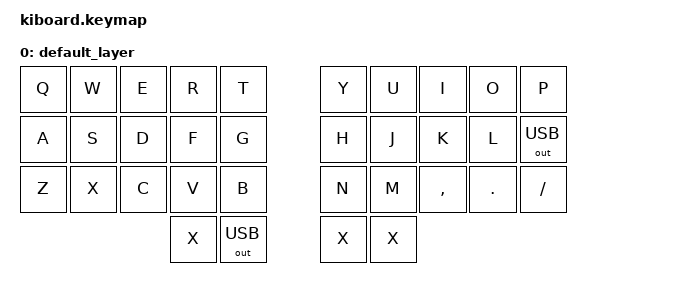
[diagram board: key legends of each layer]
/*
 * Copyright (c) 2020 The ZMK Contributors
 *
 * SPDX-License-Identifier: MIT
 */

#include <behaviors.dtsi>
#include <dt-bindings/zmk/keys.h>
#include <dt-bindings/zmk/outputs.h>

/ {
	keymap {
		compatible = "zmk,keymap";

		default_layer {
// ---------------------------------------------------------------------------------------------------------------------------------
// |  Q  |  W  |  E   |  R   |  T   |                                          |  Y   |   U    |  I    |  O   |   P   |
// |  A  |  S  |  D   |  F   |  G   |                                          |  H   |   J    |  K    |  L   |   ;   |
// |  Z  |  X  |  C   |  V   |  B   |                                          |  N   |   M    |  ,    |  .   |   /   |
//                              |   X   |   X   |                 |   X   |   X   |
			bindings = <
	&kp Q &kp W &kp E &kp R &kp T                                                &kp Y  &kp U  &kp I     &kp O   &kp P   
	&kp A &kp S &kp D &kp F &kp G                                                &kp H  &kp J  &kp K     &kp L   &out OUT_USB
	&kp Z &kp X &kp C &kp V &kp B                                                &kp N  &kp M  &kp COMMA &kp DOT &kp FSLH
	                 &kp X &out OUT_USB                                      &kp X &kp X
			>;
		};
	};
};
